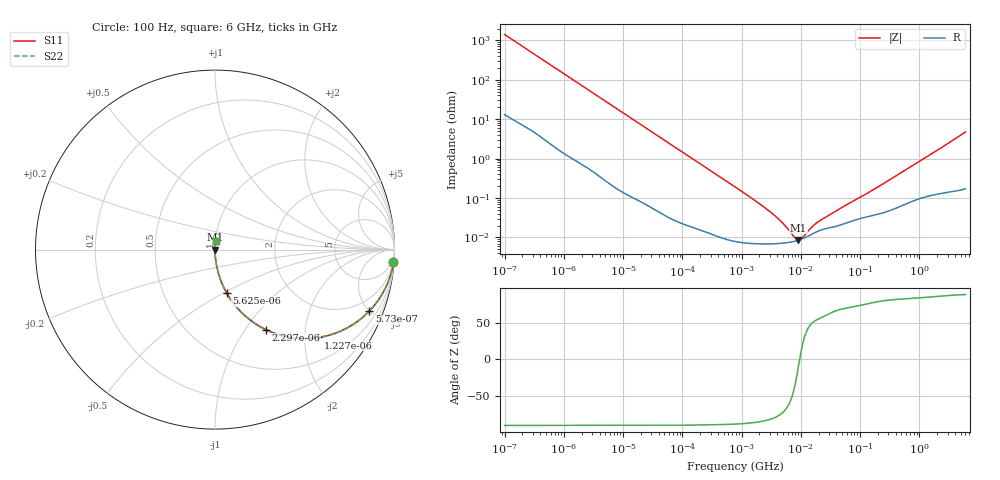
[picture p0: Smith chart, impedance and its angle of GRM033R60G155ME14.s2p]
!Murata Part Number: GRM033R60G155ME14
!These Parameters are Measured in Series Mode Connection
!Data Generated on Mar 30, 2021
!  o--ll--o
!Port1  Port2
!  o------o
!Operation Temp=25[degC], DC Bias Voltage=0[V]
!Freq. Start=100[Hz] Stop=6[GHz] 401[Steps]
# Hz S RI R 50
!Freq.(Hz) S11(Real) S11(Imag) S21(Real) S21(Imag) S12(Real) S12(Imag) S22(Real) S22(Imag)
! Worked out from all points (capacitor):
!   401 points, 100 Hz to 6 GHz, reference 50 ohm
!   read as one part in series: C = 1.13 uF near 109 Hz
!   lowest |Z| = 8.64 mohm at 9.09 MHz (marker M1)
!   series resonance near 9.558 MHz, so ESL is about 250 pH
!   S11 on the Smith chart (normalised r, x): 100 Hz: 1, -28; 573 Hz: 1.05, -4.98; 1.227 kHz: 1.02, -2.34; 2.297 kHz: 1.01, -1.25; 5.625 kHz: 1.00, -0.51; 6 GHz: 1.00, +0.10
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100  0.9944 -0.0704  0.00564 0.0704  0.00564 0.0704  0.9944 -0.0704
293  0.9574 -0.1968  0.0426 0.1968  0.0426 0.1968  0.9574 -0.1968
573  0.8588 -0.3434  0.1412 0.3434  0.1412 0.3434  0.8588 -0.3434
820  0.7507 -0.4279  0.2493 0.4279  0.2493 0.4279  0.7507 -0.4279
1227  0.5765 -0.4894  0.4235 0.4894  0.4235 0.4894  0.5765 -0.4894
2008  0.3406 -0.4689  0.6594 0.4689  0.6594 0.4689  0.3406 -0.4689
2297  0.284 -0.4459  0.716 0.4459  0.716 0.4459  0.284 -0.4459
3594  0.1415 -0.3436  0.8585 0.3436  0.8585 0.3436  0.1415 -0.3436
5625  0.0641 -0.2404  0.9359 0.2404  0.9359 0.2404  0.0641 -0.2404
13169  0.0131 -0.1088  0.9869 0.1088  0.9869 0.1088  0.0131 -0.1088
40335  0.00175 -0.0362  0.9982 0.0362  0.9982 0.0362  0.00175 -0.0362
774597  8.27e-05 -0.00192  0.9999 0.00192  0.9999 0.00192  8.27e-05 -0.00192
2967816  6.89e-05 -0.000456  0.9999 0.000456  0.9999 0.000456  6.89e-05 -0.000456
4856642  7.15e-05 -0.000228  0.9999 0.000228  0.9999 0.000228  7.15e-05 -0.000228
7599586  7.91e-05 -7.14e-05  0.9999 7.14e-05  0.9999 7.14e-05  7.91e-05 -7.14e-05
9090158  8.5e-05 -1.53e-05  0.9999 1.53e-05  0.9999 1.53e-05  8.5e-05 -1.53e-05
1.039699e7  9.11e-05 2.56e-05  0.9999 -2.56e-05  0.9999 -2.56e-05  9.11e-05 2.56e-05
1.137099e7  9.63e-05 5.24e-05  0.9999 -5.24e-05  0.9999 -5.24e-05  9.63e-05 5.24e-05
1.555665e7  0.000122 0.000143  0.9999 -0.000143  0.9999 -0.000143  0.000122 0.000143
2.327686e7  0.000159 0.000248  0.9998 -0.000248  0.9998 -0.000248  0.000159 0.000248
3.124326e8  0.000484 0.00283  0.9995 -0.00283  0.9995 -0.00283  0.000484 0.00283
6e9  0.00397 0.0473  0.996 -0.0473  0.996 -0.0473  0.00397 0.0473
